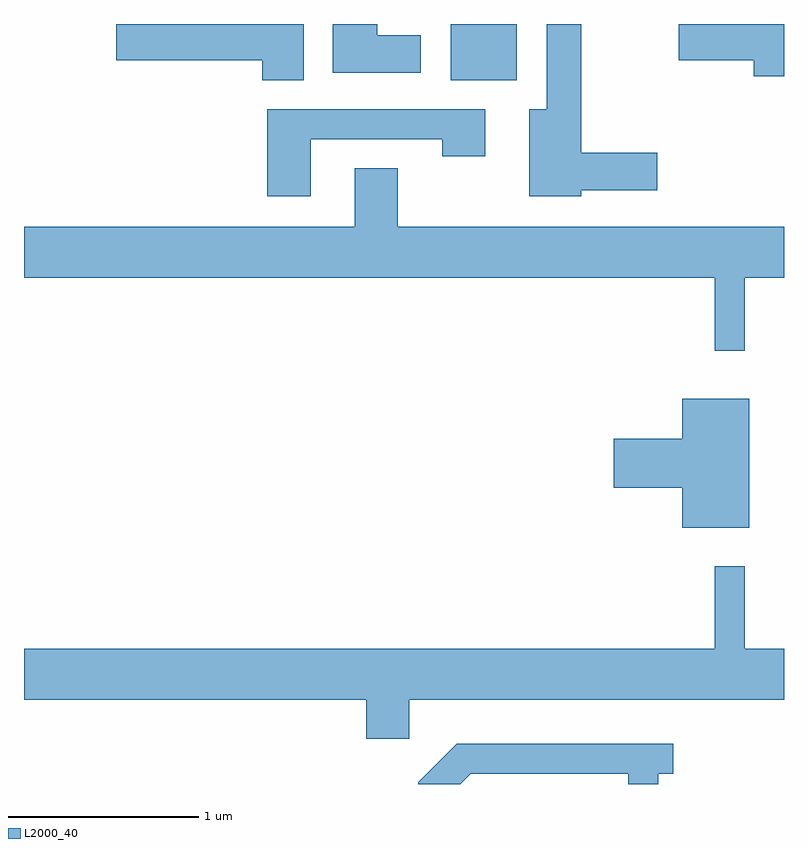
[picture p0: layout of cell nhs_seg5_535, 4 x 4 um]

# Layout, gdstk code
import gdstk
lib = gdstk.Library(unit=1e-6, precision=1e-09)
def R(c, l, rs):  # rectangles x0, y0, x1, y1
    for r in rs: c.add(gdstk.rectangle(r[:2], r[2:], *l))
def P(c, l, *ps):  # polygons
    for p in ps: c.add(gdstk.Polygon(p, *l))
L2000_40 = (2000, 40)

nhs_seg5_535 = lib.new_cell('nhs_seg5_535')
R(nhs_seg5_535, L2000_40, [(201.856,1517.776,202.204,1518.072)])
P(nhs_seg5_535, L2000_40, [(201.084,1518.072),(200.096,1518.072),(200.096,1517.881),(200.866,1517.881),(200.866,1517.776),(201.084,1517.776)],
  [(201.699,1518.014),(201.469,1518.014),(201.469,1518.072),(201.236,1518.072),(201.236,1517.816),(201.699,1517.816)],
  [(203.611,1518.072),(203.056,1518.072),(203.056,1517.881),(203.451,1517.881),(203.451,1517.796),(203.611,1517.796)],
  [(202.544,1517.196),(202.944,1517.196),(202.944,1517.394),(202.544,1517.394),(202.544,1518.072),(202.361,1518.072),(202.361,1517.624),(202.271,1517.624),(202.271,1517.166),(202.544,1517.166)],
  [(201.119,1517.466),(201.811,1517.466),(201.811,1517.376),(202.039,1517.376),(202.039,1517.624),(200.891,1517.624),(200.891,1517.166),(201.119,1517.166)],
  [(203.404,1516.736),(203.611,1516.736),(203.611,1517.004),(201.579,1517.004),(201.579,1517.314),(201.351,1517.314),(201.351,1517.004),(199.611,1517.004),(199.611,1516.736),(203.246,1516.736),(203.246,1516.353),(203.404,1516.353)],
  [(203.429,1516.099),(203.076,1516.099),(203.076,1515.889),(202.716,1515.889),(202.716,1515.631),(203.076,1515.631),(203.076,1515.421),(203.429,1515.421)],
  [(201.639,1514.516),(203.611,1514.516),(203.611,1514.784),(203.404,1514.784),(203.404,1515.218),(203.246,1515.218),(203.246,1514.784),(199.611,1514.784),(199.611,1514.516),(201.411,1514.516),(201.411,1514.311),(201.639,1514.311)],
  [(201.962,1514.126),(202.791,1514.126),(202.791,1514.072),(202.949,1514.072),(202.949,1514.126),(203.028,1514.126),(203.028,1514.284),(201.889,1514.284),(201.686,1514.082),(201.686,1514.072),(201.908,1514.072)])

lib.write_gds('nhs_seg5_535.gds')
